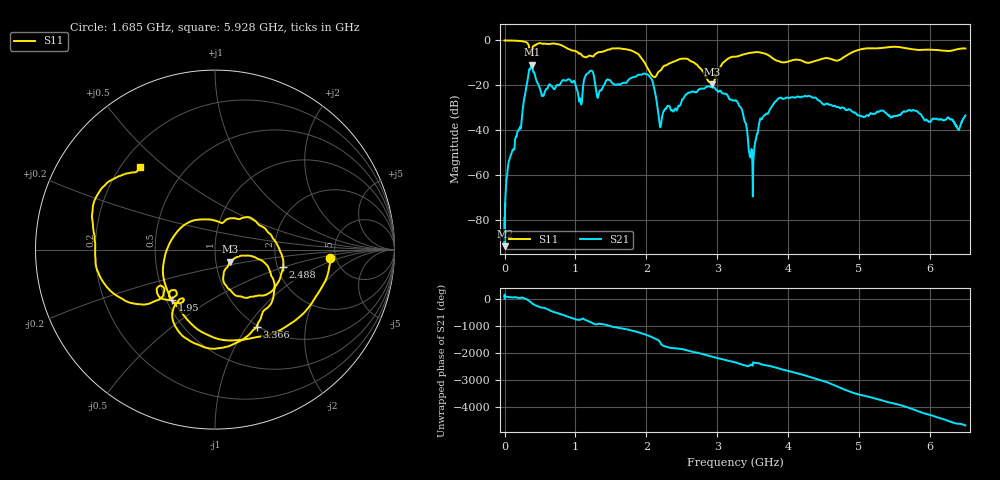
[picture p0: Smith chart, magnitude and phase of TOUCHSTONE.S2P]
!Keysight Technologies,E5063A,MY54503115,A.05.08
!Date: Fri Oct 20 10:07:34 2023
!Data & Calibration Information:
!Freq	S11:NONE(--)	S21:NONE(--)	S12:NONE(--)	S22:NONE(--)
# Hz S dB R 50
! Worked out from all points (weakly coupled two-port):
!   10001 points, 300 kHz to 6.5 GHz, reference 50 ohm
!   highest |S21| = -10.78 dB at 381.8 MHz (marker M1); lowest = -91.5 dB at 950 kHz (marker M2)
!   lowest |S11| = -19.4 dB at 2.926 GHz (marker M3), VSWR 1.24, Z = 58.5 - j7.91 ohm
!   |S11| at or under -10 dB: 1.978 GHz to 2.342 GHz (363.3 MHz wide, 16.8 % of centre); 2.681 GHz to 3.078 GHz (397.4 MHz wide, 13.8 % of centre)
!   S12 and S22 are empty: the file has one direction only
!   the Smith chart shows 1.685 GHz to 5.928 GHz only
!   S11 on the Smith chart (normalised r, x): 1.685 GHz: 4.52, -0.70; 1.95 GHz: 0.54, -0.35; 2.488 GHz: 2.15, -0.50; 3.366 GHz: 0.98, -1.11; 5.928 GHz: 0.28, +0.42
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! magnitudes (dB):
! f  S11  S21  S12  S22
! 300 kHz  0.0  -85.7  -  -
! 950 kHz  0.0  -91.5  -  -
! 62.7 MHz  0.0  -53.5  -  -
! 381.8 MHz  -5.7  -10.8  -  -
! 533.3 MHz  -1.5  -24.3  -  -
! 1.084 GHz  -6.4  -28.4  -  -
! 1.211 GHz  -6.8  -13.5  -  -
! 1.322 GHz  -5.2  -24.7  -  -
! 1.685 GHz  -3.8  -18.8  -  -
! 1.95 GHz  -8.7  -14.9  -  -
! 2.167 GHz  -14.1  -32.1  -  -
! 2.488 GHz  -8.1  -27.7  -  -
! 2.926 GHz  -19.4  -20.7  -  -
! 3.25 GHz  -7.2  -26.8  -  -
! 3.366 GHz  -6.2  -33.1  -  -
! 3.486 GHz  -5.4  -48.7  -  -
! 3.615 GHz  -5.4  -34.8  -  -
! 3.832 GHz  -8.9  -26.9  -  -
! 4.334 GHz  -9.6  -25.2  -  -
! 5.417 GHz  -3.0  -33.3  -  -
! 5.928 GHz  -4.1  -35.6  -  -
! 6.5 GHz  -3.6  -33.4  -  -
